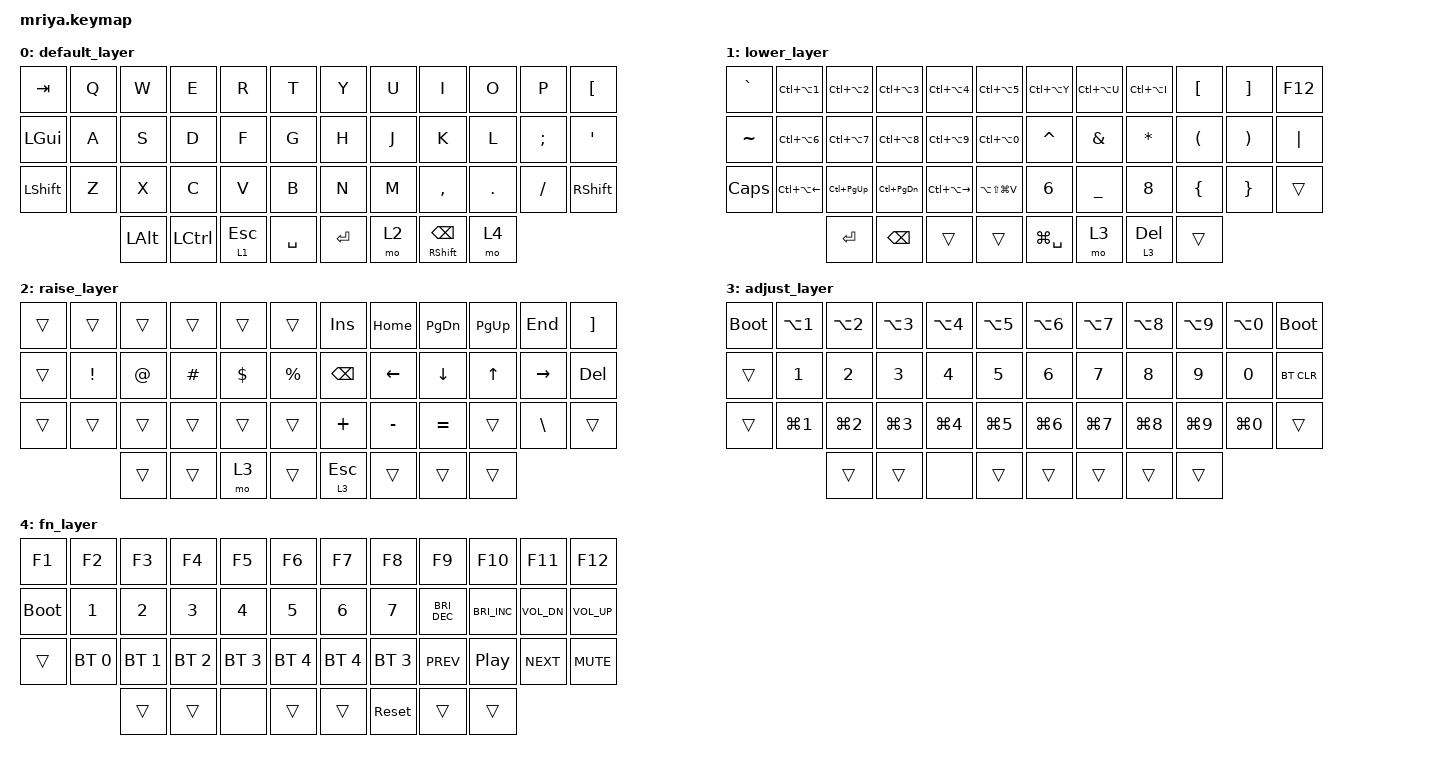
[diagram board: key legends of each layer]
/*
 * Copyright (c) 2023 Andrei Gaevskii
 *
 * SPDX-License-Identifier: MIT
 */

#include <behaviors.dtsi>
#include <dt-bindings/zmk/keys.h>
#include <dt-bindings/zmk/bt.h>

#define DEF 0
#define LWR 1
#define RSE 2
#define ADJ 3
#define FN 4

&lt {
    quick_tap_ms = <200>;
};

&mt {
    quick_tap_ms = <200>;
};

/ {
    keymap {
        compatible = "zmk,keymap";

        default_layer {
            bindings = <


// ╭──────────────────┬──────────────────┬──────────────────┬──────────────────┬──────────────────┬──────────────────╮    ╭──────────────────┬──────────────────┬─────────────────┬──────────────────┬──────────────────┬──────────────────╮
     &kp TAB            &kp Q              &kp W              &kp E              &kp R              &kp T                   &kp Y              &kp U              &kp I             &kp O              &kp P              &kp LBKT
// ├──────────────────┼──────────────────┼──────────────────┼──────────────────┼──────────────────┼──────────────────┤    ├──────────────────┼──────────────────┼─────────────────┼──────────────────┼──────────────────┼──────────────────┤
     &kp LGUI           &kp A              &kp S              &kp D              &kp F              &kp G                   &kp H              &kp J              &kp K             &kp L              &kp SEMI           &kp SQT
// ├──────────────────┼──────────────────┼──────────────────┼──────────────────┼──────────────────┼──────────────────┤    ├──────────────────┼──────────────────┼─────────────────┼──────────────────┼──────────────────┼──────────────────┤
     &kp LSHFT          &kp Z              &kp X              &kp C              &kp V              &kp B                   &kp N              &kp M              &kp COMMA         &kp DOT            &kp FSLH           &kp RSHFT
// ╰──────────────────┴──────────────────┴──────────────────┴──────────────────┼──────────────────┼──────────────────┤    ├──────────────────┼──────────────────┼─────────────────┼──────────────────┼──────────────────┴──────────────────╯
                                           &kp LALT           &kp LCTRL          &lt 1 ESC          &kp SPACE               &kp RET            &mo 2              &mt RSHFT BSPC    &mo 4
//                                       ╰──────────────────┴──────────────────┴──────────────────┴──────────────────╯    ╰──────────────────┴──────────────────┴─────────────────┴──────────────────╯

            >;
        };

        lower_layer {
            bindings = <

// ╭──────────────────┬──────────────────┬──────────────────┬──────────────────┬──────────────────┬──────────────────╮    ╭──────────────────┬──────────────────┬─────────────────┬──────────────────┬──────────────────┬──────────────────╮
     &kp GRAVE          &kp LC(LA(N1))     &kp LC(LA(N2))     &kp LC(LA(N3))     &kp LC(LA(N4))     &kp LC(LA(N5))          &kp LC(LA(Y))      &kp LC(LA(U))      &kp LC(LA(I))     &kp LBKT           &kp RBKT           &kp F12
// ├──────────────────┼──────────────────┼──────────────────┼──────────────────┼──────────────────┼──────────────────┤    ├──────────────────┼──────────────────┼─────────────────┼──────────────────┼──────────────────┼──────────────────┤
     &kp TILDE          &kp LC(LA(N6))     &kp LC(LA(N7))     &kp LC(LA(N8))     &kp LC(LA(N9))     &kp LC(LA(N0))          &kp CARET          &kp AMPS           &kp STAR          &kp LPAR           &kp RPAR           &kp PIPE
// ├──────────────────┼──────────────────┼──────────────────┼──────────────────┼──────────────────┼──────────────────┤    ├──────────────────┼──────────────────┼─────────────────┼──────────────────┼──────────────────┼──────────────────┤
     &kp CAPSLOCK       &kp LC(LA(LEFT))   &kp LC(PG_UP)      &kp LC(PG_DN)      &kp LC(LA(RIGHT))  &kp LA(LS(LG(V)))       &kp N6             &kp UNDER          &kp N8            &kp LBRC           &kp RBRC           &trans
// ╰──────────────────┴──────────────────┴──────────────────┴──────────────────┼──────────────────┼──────────────────┤    ├──────────────────┼──────────────────┼─────────────────┼──────────────────┼──────────────────┴──────────────────╯
                                           &kp RET           &kp BSPC            &trans             &trans                  &kp LG(SPACE)      &mo 3              &lt 3 DEL         &trans
//                                       ╰──────────────────┴──────────────────┴──────────────────┴──────────────────╯    ╰──────────────────┴──────────────────┴─────────────────┴──────────────────╯

            >;
        };

        raise_layer {
            bindings = <

// ╭──────────────────┬──────────────────┬──────────────────┬──────────────────┬──────────────────┬──────────────────╮    ╭──────────────────┬──────────────────┬─────────────────┬──────────────────┬──────────────────┬──────────────────╮
     &trans             &trans             &trans             &trans             &trans             &trans                  &kp INS            &kp HOME           &kp PG_DN         &kp PG_UP          &kp END            &kp RBKT
// ├──────────────────┼──────────────────┼──────────────────┼──────────────────┼──────────────────┼──────────────────┤    ├──────────────────┼──────────────────┼─────────────────┼──────────────────┼──────────────────┼──────────────────┤
     &trans             &kp EXCL           &kp AT             &kp HASH           &kp DLLR           &kp PRCNT               &kp BSPC           &kp LEFT           &kp DOWN          &kp UP             &kp RIGHT          &kp DEL
// ├──────────────────┼──────────────────┼──────────────────┼──────────────────┼──────────────────┼──────────────────┤    ├──────────────────┼──────────────────┼─────────────────┼──────────────────┼──────────────────┼──────────────────┤
     &trans             &trans             &trans             &trans             &trans             &trans                  &kp PLUS           &kp MINUS          &kp EQUAL         &trans             &kp BSLH           &trans
// ╰──────────────────┴──────────────────┴──────────────────┴──────────────────┼──────────────────┼──────────────────┤    ├──────────────────┼──────────────────┼─────────────────┼──────────────────┼──────────────────┴──────────────────╯
                                           &trans             &trans             &mo 3              &trans                  &lt 3 ESC          &trans             &trans            &trans
//                                       ╰──────────────────┴──────────────────┴──────────────────┴──────────────────╯    ╰──────────────────┴──────────────────┴─────────────────┴──────────────────╯

            >;
        };

        adjust_layer {
            bindings = <
  &bootloader  &kp LA(N1)    &kp LA(N2)    &kp LA(N3)    &kp LA(N4)    &kp LA(N5)      &kp LA(N6)    &kp LA(N7)    &kp LA(N8)    &kp LA(N9)    &kp LA(N0)    &bootloader
  &trans       &kp N1        &kp N2        &kp N3        &kp N4        &kp N5          &kp N6        &kp N7        &kp N8        &kp N9        &kp N0        &bt BT_CLR
  &trans       &kp LG(N1)    &kp LG(N2)    &kp LG(N3)    &kp LG(N4)    &kp LG(N5)      &kp LG(N6)    &kp LG(N7)    &kp LG(N8)    &kp LG(N9)    &kp LG(N0)    &trans
                             &trans        &trans        &none         &trans          &trans        &trans        &trans        &trans
            >;
        };

 fn_layer {
            bindings = <
  &kp F1       &kp F2        &kp F3        &kp F4        &kp F5        &kp F6          &kp F7        &kp F8        &kp F9        &kp F10       &kp F11       &kp F12
  &bootloader  &kp N1        &kp N2        &kp N3        &kp N4        &kp N5          &kp N6        &kp N7        &kp C_BRI_DEC &kp C_BRI_INC &kp C_VOL_DN  &kp C_VOL_UP
  &trans       &bt BT_SEL 0  &bt BT_SEL 1  &bt BT_SEL 2  &bt BT_SEL 3  &bt BT_SEL 4    &bt BT_SEL 4  &bt BT_SEL 3  &kp C_PREV    &kp C_PLAY_PAUSE  &kp C_NEXT    &kp C_MUTE
                             &trans        &trans        &none         &trans          &trans        &sys_reset    &trans        &trans
            >;
        };

    };
};
